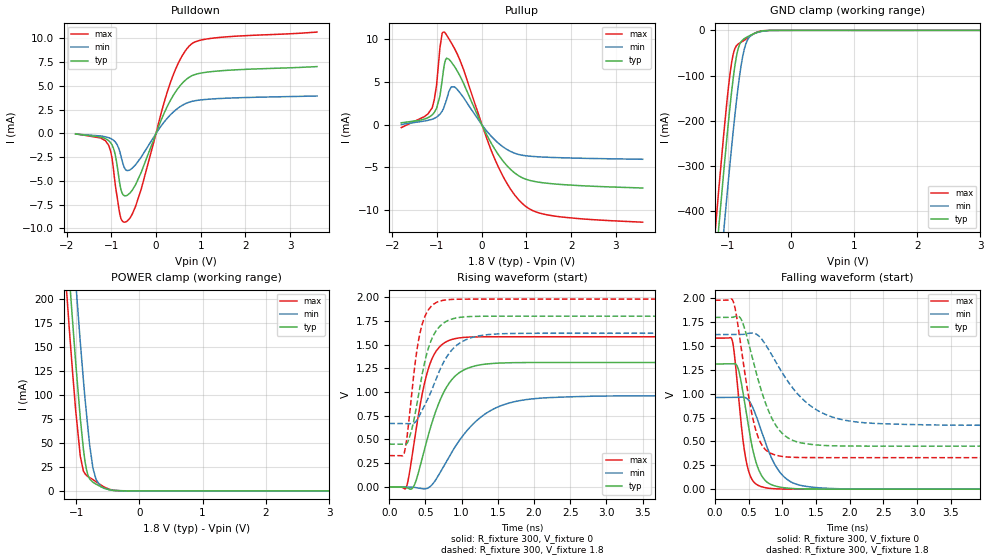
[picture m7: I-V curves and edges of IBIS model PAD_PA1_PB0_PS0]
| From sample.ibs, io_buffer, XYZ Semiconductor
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[Model]   PAD_PA1_PB0_PS0
Model_type I/O
Vinl  =  0.54
Vinh  =  1.26
Vmeas =  0.9
| Capacitance   typ   min   max
C_comp   1.4956e-12   1.4369e-12   1.5705e-12
| Variables   typ   min   max
[GND Clamp Reference]   0   0   0
[POWER Clamp Reference]   1.8   1.62   1.98
[Pulldown Reference]   0   0   0
[Pullup Reference]   1.8   1.62   1.98
[Temperature Range]   25   125   -40
[Voltage Range]   1.8   1.62   1.98
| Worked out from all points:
|   slope of the pulldown table from 0 to 0.27 V, typ, clamps not added: 89.5 ohm
|   slope of the pullup table from 0 to 0.27 V, typ, clamps not added: 100 ohm
|   GND clamp passes 1 mA (typ) near -0.41 V on its own axis
|   POWER clamp passes 1 mA (typ) near -0.45 V on its own axis
|   rising waveform, R_fixture 300, V_fixture 0: 20-80 % time 348ps typ, 591ps min, 235ps max; typ from 0 V to 1.31 V
|   rising waveform, R_fixture 300, V_fixture 1.8: 20-80 % time 226ps typ, 362ps min, 167ps max; typ from 0.451 V to 1.8 V
|   falling waveform, R_fixture 300, V_fixture 0: 20-80 % time 211ps typ, 337ps min, 147ps max; typ from 1.31 V to 0 V
|   falling waveform, R_fixture 300, V_fixture 1.8: 20-80 % time 362ps typ, 622ps min, 234ps max; typ from 1.8 V to 0.451 V
[GND Clamp]
| Voltage   I(typ)   I(min)   I(max)
-1.8V     -1.523A    -1.632A    -1.455A
-1.234V   -589.8mA   -717.8mA   -507.6mA
-1.135V   -428.7mA   -559.6mA   -344.9mA
-1.06V    -311.2mA   -442.8mA   -228.7mA
-984.8mV  -200.8mA   -329mA     -124.5mA
-934.9mV  -134.5mA   -256.7mA   -70.49mA
-860mV    -57.75mA   -157.4mA   -34.04mA
-810.1mV  -31.19mA   -101.1mA   -28.17mA
-760.2mV  -21.05mA   -57.46mA   -24.17mA
-685.3mV  -14.31mA   -21.45mA   -16.91mA
-335.8mV  -82.25uA   -264.7uA   -43.52uA
3.6V      0A         0A         0A
[POWER Clamp]
| Voltage   I(typ)   I(min)   I(max)
-1.8V     902.6mA    988.3mA    831.8mA
-1.16V    271.7mA    359.1mA    215.7mA
-1.135V   248.2mA    335.3mA    192.6mA
-1.085V   202mA      288.3mA    147.7mA
-1.01V    135.6mA    219.8mA    85.36mA
-934.9mV  75.74mA    155.1mA    36.16mA
-860mV    30.67mA    95.95mA    17.94mA
-785.1mV  12.31mA    46.92mA    13.86mA
-735.2mV  9.047mA    23.88mA    11.82mA
-685.3mV  7.019mA    11.86mA    9.539mA
-410.7mV  436.2uA    585uA      622.9uA
3.6V      0A         0A         0A
[Pullup]
| Voltage   I(typ)   I(min)   I(max)
-1.8V     215.7uA    24.33uA    -345.1uA
-1.11V    1.146mA    636.6uA    1.96mA
-1.01V    1.921mA    880uA      4.672mA
-934.9mV  3.375mA    1.22mA     9.046mA
-885mV    5.21mA     1.588mA    10.74mA
-835.1mV  7.106mA    2.199mA    10.86mA
-785.1mV  7.796mA    2.954mA    10.49mA
-610.4mV  6.826mA    4.44mA     8.943mA
313.3mV   -3.057mA   -1.893mA   -4.292mA
887.5mV   -6.177mA   -3.57mA    -9.148mA
1.562V    -6.925mA   -3.845mA   -10.67mA
3.6V      -7.432mA   -4.062mA   -11.44mA
[Pulldown]
| Voltage   I(typ)   I(min)   I(max)
-1.8V     -62.47uA   -70.83uA   -35.76uA
-1.06V    -760.3uA   -449.4uA   -1.25mA
-984.8mV  -1.213mA   -610.9uA   -2.616mA
-934.9mV  -1.832mA   -788.9uA   -4.524mA
-810.1mV  -5.34mA    -1.94mA    -8.513mA
-685.3mV  -6.567mA   -3.792mA   -9.328mA
-535.5mV  -5.992mA   -3.67mA    -8.519mA
-335.8mV  -4.134mA   -2.518mA   -5.923mA
338.3mV   3.622mA    2.037mA    5.575mA
737.7mV   5.896mA    3.282mA    9.174mA
1.337V    6.545mA    3.648mA    10.06mA
3.6V      7.027mA    3.935mA    10.66mA
[Ramp]
dV/dt_r   0.787216/0.34827n  0.576397/0.590604n  0.949923/0.234867n
dV/dt_f   0.809514/0.3616n  0.570502/0.621711n  0.989779/0.234388n
R_load = 300
[Rising Waveform]
R_fixture = 300
V_fixture = 0
V_fixture_min = 0
V_fixture_max = 0
| Time   V(typ)   V(min)   V(max)
0s        151.2nV    1.405uV    106.2nV
228.4ps   -4.032mV   -688.3uV   -14.87mV
336.8ps   3.577mV    -3.082mV   431.8mV
457.5ps   308.7mV    -20.26mV   986.9mV
564ps     610.1mV    2.943mV    1.299V
720.6ps   946.6mV    175mV      1.495V
880.6ps   1.145V     387.4mV    1.558V
1.355ns   1.297V     784.1mV    1.582V
2.01ns    1.312V     930.7mV    1.582V
8.333ns   1.312V     960.7mV    1.583V
[Rising Waveform]
R_fixture = 300
V_fixture = 1.8
V_fixture_min = 1.62
V_fixture_max = 1.98
| Time   V(typ)   V(min)   V(max)
0s        450.8mV    669.2mV    330.4mV
202.7ps   449.9mV    668.4mV    344.8mV
309.4ps   601.9mV    666.6mV    973.3mV
371.6ps   825.6mV    692.8mV    1.384V
436.6ps   1.111V     781.4mV    1.661V
561.2ps   1.509V     974.9mV    1.888V
715.4ps   1.706V     1.26V      1.962V
978.6ps   1.787V     1.518V     1.979V
1.451ns   1.799V     1.611V     1.98V
8.333ns   1.8V       1.62V      1.98V
[Falling Waveform]
R_fixture = 300
V_fixture = 0
V_fixture_min = 0
V_fixture_max = 0
| Time   V(typ)   V(min)   V(max)
0s        1.312V     960.7mV    1.583V
253.8ps   1.313V     961.4mV    1.568V
351.4ps   1.248V     962.6mV    966.6mV
414.3ps   1.024V     964.4mV    528.6mV
470.3ps   777.4mV    952.6mV    274mV
583.9ps   348.9mV    819.5mV    69.83mV
710.3ps   123.1mV    568.3mV    21.66mV
1.008ns   16.79mV    142.1mV    1.392mV
1.443ns   970.1uV    21.09mV    647.3uV
8.333ns   251.7nV    1.623uV    155.6nV
[Falling Waveform]
R_fixture = 300
V_fixture = 1.8
V_fixture_min = 1.62
V_fixture_max = 1.98
| Time   V(typ)   V(min)   V(max)
0s        1.8V       1.62V      1.98V
273.5ps   1.802V     1.621V     1.965V
404ps     1.759V     1.621V     1.412V
508.8ps   1.506V     1.635V     936.8mV
601.2ps   1.251V     1.629V     632.4mV
727.2ps   950.5mV    1.541V     432.5mV
907.8ps   665.1mV    1.328V     356mV
1.415ns   470.4mV    875.4mV    330.7mV
2.077ns   451.4mV    706.4mV    330.5mV
8.333ns   450.8mV    669.2mV    330.4mV
